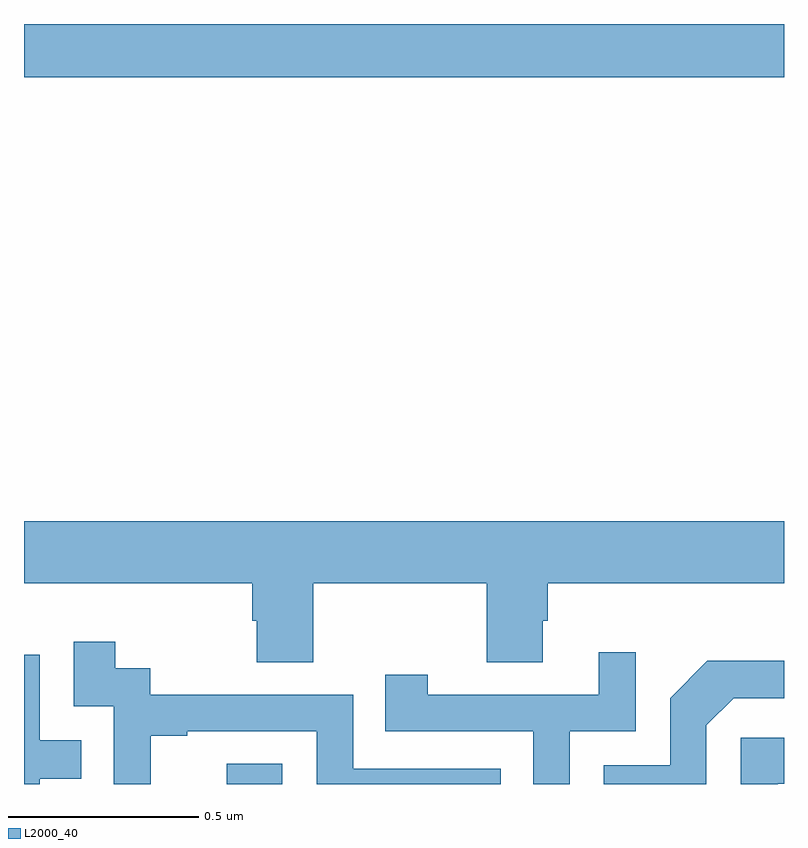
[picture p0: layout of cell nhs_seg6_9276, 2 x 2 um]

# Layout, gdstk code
import gdstk
lib = gdstk.Library(unit=1e-6, precision=1e-09)
def R(c, l, rs):  # rectangles x0, y0, x1, y1
    for r in rs: c.add(gdstk.rectangle(r[:2], r[2:], *l))
def P(c, l, *ps):  # polygons
    for p in ps: c.add(gdstk.Polygon(p, *l))
L2000_40 = (2000, 40)

nhs_seg6_9276 = lib.new_cell('nhs_seg6_9276')
R(nhs_seg6_9276, L2000_40, [(232.533,921.5,232.68,921.553), (232,923.36,234,923.5)])
P(nhs_seg6_9276, L2000_40, [(232.761,922.028),(233.218,922.028),(233.218,921.82),(233.365,921.82),(233.365,921.93),(233.378,921.93),(233.378,922.028),(234,922.028),(234,922.192),(232,922.192),(232,922.028),(232.601,922.028),(232.601,921.93),(232.613,921.93),(232.613,921.82),(232.761,921.82)],
  [(232.334,921.627),(232.429,921.627),(232.429,921.639),(232.77,921.639),(232.77,921.5),(233.255,921.5),(233.255,921.54),(232.866,921.54),(232.866,921.735),(232.332,921.735),(232.332,921.804),(232.24,921.804),(232.24,921.874),(232.131,921.874),(232.131,921.705),(232.236,921.705),(232.236,921.5),(232.334,921.5)],
  [(233.436,921.639),(233.61,921.639),(233.61,921.847),(233.513,921.847),(233.513,921.735),(233.062,921.735),(233.062,921.787),(232.951,921.787),(232.951,921.639),(233.34,921.639),(233.34,921.5),(233.436,921.5)],
  [(232.041,921.514),(232.151,921.514),(232.151,921.615),(232.041,921.615),(232.041,921.84),(232,921.84),(232,921.5),(232.041,921.5)],
  [(233.796,921.654),(233.868,921.726),(234,921.726),(234,921.824),(233.798,921.824),(233.7,921.726),(233.7,921.549),(233.526,921.549),(233.526,921.5),(233.796,921.5)],
  [(233.984,921.501),(234,921.501),(234,921.622),(233.886,921.622),(233.886,921.5),(233.984,921.5)])

lib.write_gds('nhs_seg6_9276.gds')
